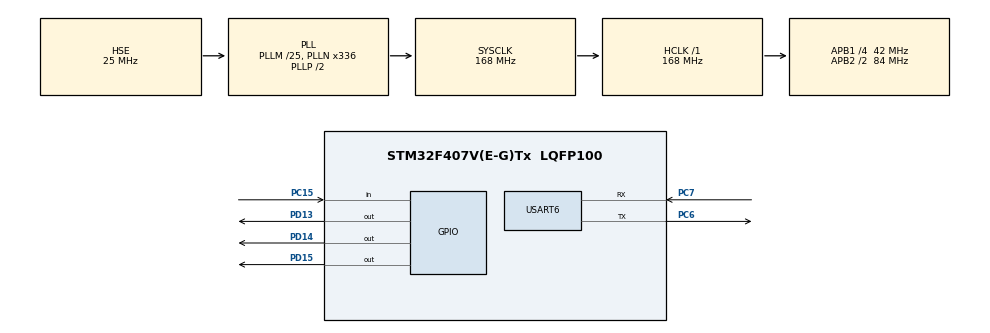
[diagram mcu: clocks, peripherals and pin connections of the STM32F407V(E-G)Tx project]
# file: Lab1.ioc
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Mcu.Family=STM32F4
Mcu.Name=STM32F407V(E-G)Tx
Mcu.Package=LQFP100
NVIC.PriorityGroup=NVIC_PRIORITYGROUP_4
NVIC.USART6_IRQn=true\:0\:0\:false\:false\:true\:true\:true
PA13.Mode=JTAG_5_pins
PA13.Signal=SYS_JTMS-SWDIO
PA14.Mode=JTAG_5_pins
PA14.Signal=SYS_JTCK-SWCLK
PA15.Mode=JTAG_5_pins
PA15.Signal=SYS_JTDI
PB3.Mode=JTAG_5_pins
PB3.Signal=SYS_JTDO-SWO
PB4.Mode=JTAG_5_pins
PB4.Signal=SYS_JTRST
PC15-OSC32_OUT.Signal=GPIO_Input
PC6.Mode=Asynchronous
PC6.Signal=USART6_TX
PC7.Mode=Asynchronous
PC7.Signal=USART6_RX
PD13.Signal=GPIO_Output
PD14.Signal=GPIO_Output
PD15.Signal=GPIO_Output
PH0-OSC_IN.Mode=HSE-External-Oscillator
PH0-OSC_IN.Signal=RCC_OSC_IN
PH1-OSC_OUT.Mode=HSE-External-Oscillator
PH1-OSC_OUT.Signal=RCC_OSC_OUT
ProjectManager.HeapSize=0x200
ProjectManager.StackSize=0x400
ProjectManager.TargetToolchain=STM32CubeIDE
RCC.48MHZClocksFreq_Value=84000000
RCC.AHBFreq_Value=168000000
RCC.APB1CLKDivider=RCC_HCLK_DIV4
RCC.APB1Freq_Value=42000000
RCC.APB1TimFreq_Value=84000000
RCC.APB2CLKDivider=RCC_HCLK_DIV2
RCC.APB2Freq_Value=84000000
RCC.APB2TimFreq_Value=168000000
RCC.CortexFreq_Value=168000000
RCC.HCLKFreq_Value=168000000
RCC.HSE_VALUE=25000000
RCC.HSI_VALUE=16000000
RCC.LSE_VALUE=32768
RCC.PLLM=25
RCC.PLLN=336
RCC.PLLSourceVirtual=RCC_PLLSOURCE_HSE
RCC.SYSCLKFreq_VALUE=168000000
RCC.SYSCLKSource=RCC_SYSCLKSOURCE_PLLCLK
RCC.VCOOutputFreq_Value=336000000
USART6.VirtualMode=VM_ASYNC
board=custom

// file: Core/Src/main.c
/* USER CODE BEGIN Header */
/**
  ******************************************************************************
  * @file           : main.c
  * @brief          : Main program body
  ******************************************************************************
  * @attention
  *
  * <h2><center>&copy; Copyright (c) 2021 STMicroelectronics.
  * All rights reserved.</center></h2>
  *
  * This software component is licensed by ST under BSD 3-Clause license,
  * the "License"; You may not use this file except in compliance with the
  * License. You may obtain a copy of the License at:
  *                        opensource.org/licenses/BSD-3-Clause
  *
  ******************************************************************************
  */
/* USER CODE END Header */
#include "main.h"
#include "usart.h"
#include "gpio.h"

/* USER CODE BEGIN Includes */

#include "hal_driver.h"
#include <stdio.h>

/* USER CODE END Includes */

void SystemClock_Config(void);

/* USER CODE BEGIN 0 */

enum MathOperation {
    ADDITION,
    SUBTRACTION,
    MULTIPLICATION,
    DIVISION,
    EQUAL,
    NONE
};

int mode = 0;
char ch[] = "F";
char message[50] = "";
char mode0[] = "Mode: Preriv \n\r";
char mode1[] = "Mode: Bez Preriv \n\r";
short isFirst = 1;
short counter = 0;
short firstOperand = 0;
short secondOperand = 0;
enum MathOperation operation = NONE;

short getNumber(char ch) {
    short asciNum = ch;
    if (asciNum >= 48 && asciNum <= 57)
        return asciNum - '0';
    return -1;
}

enum MathOperation getMathOperation(char ch) {
    switch (ch) {
        case '+':
            return ADDITION;
        case '-':
            return SUBTRACTION;
        case '*':
            return MULTIPLICATION;
        case '/':
            return DIVISION;
        case '=':
            return EQUAL;
    }
    return NONE;
}

short checkNumbertoOverflow(short fullNumber, short number) {
    if ((fullNumber == 3276 && number >= 7) || fullNumber > 3276)
        return -1;
    return fullNumber * 10 + number;
}

short makeMathOperation(enum MathOperation operation, short firstOperand, short secondOperand) {
    switch (operation) {
        case ADDITION: {
            long testOverflow = firstOperand + secondOperand;
            short result = firstOperand + secondOperand;
            if (result == testOverflow)
                return result;
            else
                return -1;
        }
        case SUBTRACTION:
            return firstOperand - secondOperand;
        case MULTIPLICATION: {
            long testOverflow = firstOperand * secondOperand;
            short result = firstOperand * secondOperand;
            if (result == testOverflow)
                return result;
            else
                return -1;
        }
        case DIVISION: {
            return firstOperand / secondOperand;
        }
    }
    return -1;
}

void
resetCalc() {
    isFirst = 1;
    counter = 0;
    firstOperand = 0;
    secondOperand = 0;
    operation = NONE;
}

char errorMessage[] = "\n\rERROR\n\r";

void sendMessage(char *message, int size) {
    if (mode)
        HAL_UART_Transmit(&huart6, (uint8_t *) message, size, 100);
    else {
        long time = getCurrentTime();
        while (HAL_UART_Transmit_IT(&huart6, (uint8_t *) message, size) == HAL_BUSY && getCurrentTime() - time < 1000) {
        }
    }

}

void sendError() {
    sendMessage(errorMessage, sizeof(errorMessage) - 1);
}

void sendErrorAndReset() {
    sendError();
    resetCalc();
}

void handle_calc() {
    sendMessage(ch, sizeof(ch) - 1);
    enum MathOperation operationBuf = getMathOperation(ch[0]);
    if (counter > 0) {
        if (isFirst && operationBuf != NONE && operationBuf != EQUAL) {
            operation = operationBuf;
            isFirst = 0;
            counter = 0;
            return;
        }
        if (!isFirst && operationBuf != NONE && operationBuf == EQUAL) {
            long testOverflow;
            short res;
            switch (operation) {
                case ADDITION: {
                    testOverflow = firstOperand + secondOperand;
                    res = firstOperand + secondOperand;
                    break;
                }
                case SUBTRACTION: {
                    testOverflow = firstOperand - secondOperand;
                    res = firstOperand - secondOperand;
                    break;
                }
                case MULTIPLICATION: {
                    testOverflow = firstOperand * secondOperand;
                    res = firstOperand * secondOperand;
                    break;
                }
                case DIVISION: {
                    if (secondOperand == 0) {
                        sprintf(message, "\n\rCant divide by zero\n\r");
                        sendMessage(message, sizeof(message) - 1);
                        resetCalc();
                        return;
                    }
                    testOverflow = firstOperand / secondOperand;
                    res = firstOperand / secondOperand;
                    break;
                }
            }
            if (res == testOverflow)
                sprintf(message, "%d\n\r", res);
            else
                sprintf(message, "ERROR\n\r");
            sendMessage(message, sizeof(message) - 1);
            resetCalc();
            return;
        }
    }
    if (operationBuf != NONE || counter > 4) {
        sendErrorAndReset();
        return;
    }

    short number = getNumber(ch[0]);
    if (number != -1) {
        if (isFirst) {
            short numberBuf = checkNumbertoOverflow(firstOperand, number);
            if (numberBuf == -1) {
                sendErrorAndReset();
                return;
            }
            firstOperand = numberBuf;
        } else {
            short numberBuf = checkNumbertoOverflow(secondOperand, number);
            if (numberBuf == -1) {
                sendErrorAndReset();
                return;
            }
            secondOperand = numberBuf;
        }
        counter++;
    } else {
        sendErrorAndReset();
    }
}

void HAL_UART_RxCpltCallback(UART_HandleTypeDef *huart) {
    handle_calc();
}

/* USER CODE END 0 */

int main(void) {
    /* USER CODE BEGIN 1 */
    HAL_StatusTypeDef isReaded;
    int shortPressTime = 200;
    int isBeingProceed = 0;
    long startTimePressedButton = 0;

    /* USER CODE END 1 */

    /* MCU Configuration--------------------------------------------------------*/

    /* Reset of all peripherals, Initializes the Flash interface and the Systick. */
    HAL_Init();

    /* Configure the system clock */
    SystemClock_Config();

    /* Initialize all configured peripherals */
    MX_GPIO_Init();
    MX_USART6_UART_Init();

    /* Infinite loop */
    while (1) {

        /* USER CODE BEGIN 3 */
        if (!getButtonState()) {
            if (!isBeingProceed) {
                startTimePressedButton = getCurrentTime();
                isBeingProceed = 1;
            }
        } else {
            if (isBeingProceed && getCurrentTime() - startTimePressedButton > shortPressTime) {
                if (mode == 1) {
                    mode = 0;
                    sendMessage(mode0, sizeof(mode0) - 1);
                } else {
                    mode = 1;
                    sendMessage(mode1, sizeof(mode1) - 1);
                }
            }
            isBeingProceed = 0;
        }
        if (mode) {
            isReaded = HAL_UART_Receive(&huart6, (uint8_t *) &ch, 1, 200);
            if (isReaded == HAL_OK)
                handle_calc();
        } else {
            HAL_UART_Receive_IT(&huart6, (uint8_t *) &ch, 1);
        }
    }
    /* USER CODE END 3 */
}

void SystemClock_Config(void) {
    RCC_OscInitTypeDef RCC_OscInitStruct = {0};
    RCC_ClkInitTypeDef RCC_ClkInitStruct = {0};

    /** Configure the main internal regulator output voltage
    */
    __HAL_RCC_PWR_CLK_ENABLE();
    __HAL_PWR_VOLTAGESCALING_CONFIG(PWR_REGULATOR_VOLTAGE_SCALE1);
    /** Initializes the RCC Oscillators according to the specified parameters
    * in the RCC_OscInitTypeDef structure.
    */
    RCC_OscInitStruct.OscillatorType = RCC_OSCILLATORTYPE_HSE;
    RCC_OscInitStruct.HSEState = RCC_HSE_ON;
    RCC_OscInitStruct.PLL.PLLState = RCC_PLL_ON;
    RCC_OscInitStruct.PLL.PLLSource = RCC_PLLSOURCE_HSE;
    RCC_OscInitStruct.PLL.PLLM = 25;
    RCC_OscInitStruct.PLL.PLLN = 336;
    RCC_OscInitStruct.PLL.PLLP = RCC_PLLP_DIV2;
    RCC_OscInitStruct.PLL.PLLQ = 4;
    if (HAL_RCC_OscConfig(&RCC_OscInitStruct) != HAL_OK) {
        Error_Handler();
    }
    /** Initializes the CPU, AHB and APB buses clocks
    */
    RCC_ClkInitStruct.ClockType = RCC_CLOCKTYPE_HCLK | RCC_CLOCKTYPE_SYSCLK
                                  | RCC_CLOCKTYPE_PCLK1 | RCC_CLOCKTYPE_PCLK2;
    RCC_ClkInitStruct.SYSCLKSource = RCC_SYSCLKSOURCE_PLLCLK;
    RCC_ClkInitStruct.AHBCLKDivider = RCC_SYSCLK_DIV1;
    RCC_ClkInitStruct.APB1CLKDivider = RCC_HCLK_DIV4;
    RCC_ClkInitStruct.APB2CLKDivider = RCC_HCLK_DIV2;

    if (HAL_RCC_ClockConfig(&RCC_ClkInitStruct, FLASH_LATENCY_5) != HAL_OK) {
        Error_Handler();
    }
}

void Error_Handler(void) {
    __disable_irq();
    while (1) {
    }
}

/************************ (C) COPYRIGHT STMicroelectronics *****END OF FILE****/
